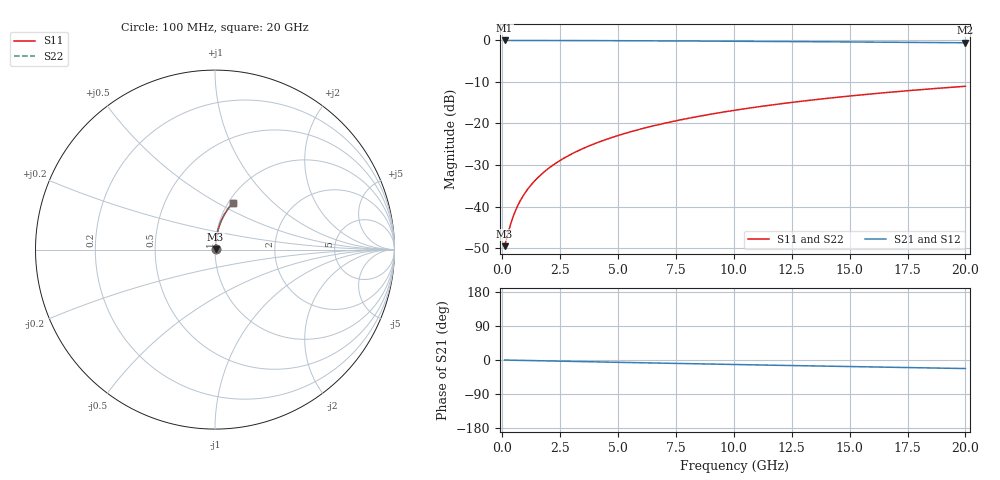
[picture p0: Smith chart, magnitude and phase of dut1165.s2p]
! Touchstone file exported from HFSS 2024.1.0
!  File:  C:/UserFiles/LocalFiles/RDL_TSV_Batchsim/temp_RDL_top_1165_1780048692.aedt
!  Generated:  06:00:28 PM May 29, 2026
!  Design:  RDL_top
!  Project:  temp_RDL_top_1165_1780048692
!  Setup:  Setup1
!  Solution:  Sweep
! Variables:
!  dtsv = 10.80580581um
!  hbump = 3um
!  htsv = 60.89um
!  ldown = 100um
!  lrdl = 268.21um
!  p = 40
!  p1 = 40.5um
!  rhole = 1um
!  t = 450um
!  tdown = 3.915915916um
!  trdl = 2.83um
!  wdown = 15.38538539um
!  wrdl = 11.9um
# GHz S MA R 50.000000
! Terminal data exported
! Port[1] = Box2_T1
! Port[2] = Box2_T2
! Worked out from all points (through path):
!   200 points, 100 MHz to 20 GHz, reference 50 ohm
!   highest |S21| = -0.03 dB at 100 MHz (marker M1); lowest = -0.6 dB at 20 GHz (marker M2)
!   group delay of S21, straight-line fit = 3.12 ps
!   lowest |S11| = -49.5 dB at 100 MHz (marker M3), VSWR 1.01, Z = 50.3 + j0.15 ohm
!   |S11| at or under -10 dB: start of sweep to end of sweep
!   |S22| runs from -49.5 to -11.1 dB; largest |S21 - S12| = 3.5e-15
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0.1  0.003339 26.5  0.997 -0.1  0.997 -0.1  0.003339 26.5
! Gamma 0 0 0 0
! Port Impedance 50 0 50 0
0.3  0.005397 55.3  0.9969 -0.4  0.9969 -0.4  0.005397 55.3
0.4  0.006669 62.0  0.9969 -0.5  0.9969 -0.5  0.006669 62.0
0.5  0.007993 66.4  0.9968 -0.6  0.9968 -0.6  0.007992 66.4
0.6  0.009341 69.5  0.9967 -0.8  0.9967 -0.8  0.009341 69.5
0.7  0.0107 71.9  0.9966 -0.9  0.9966 -0.9  0.0107 71.9
0.9  0.01346 75.1  0.9965 -1.1  0.9965 -1.1  0.01346 75.1
1.2  0.01762 78.0  0.9962 -1.5  0.9962 -1.5  0.01762 78.0
1.4  0.02042 79.3  0.9961 -1.7  0.9961 -1.7  0.02042 79.3
1.7  0.02463 80.6  0.9958 -2.1  0.9958 -2.1  0.02463 80.6
2.2  0.03168 81.9  0.9953 -2.7  0.9953 -2.7  0.03168 81.9
2.8  0.04018 82.6  0.9945 -3.4  0.9945 -3.4  0.04018 82.6
3.5  0.05014 83.0  0.9934 -4.3  0.9934 -4.3  0.05014 83.0
4.2  0.06014 83.0  0.9921 -5.1  0.9921 -5.1  0.06014 83.0
5  0.07162 82.8  0.9905 -6.1  0.9905 -6.1  0.07162 82.8
5.9  0.08457 82.4  0.9883 -7.2  0.9883 -7.2  0.08457 82.3
6.8  0.09754 81.8  0.9859 -8.2  0.9859 -8.2  0.09754 81.8
8.3  0.1192 80.6  0.9814 -10.0  0.9814 -10.0  0.1192 80.6
10.1  0.1451 79.0  0.9755 -12.0  0.9755 -12.0  0.1451 79.0
13.4  0.1918 75.8  0.9632 -15.6  0.9632 -15.6  0.1918 75.8
16.7  0.237 72.4  0.9496 -19.1  0.9496 -19.1  0.237 72.4
20  0.2802 69.0  0.935 -22.5  0.935 -22.5  0.2802 69.0
